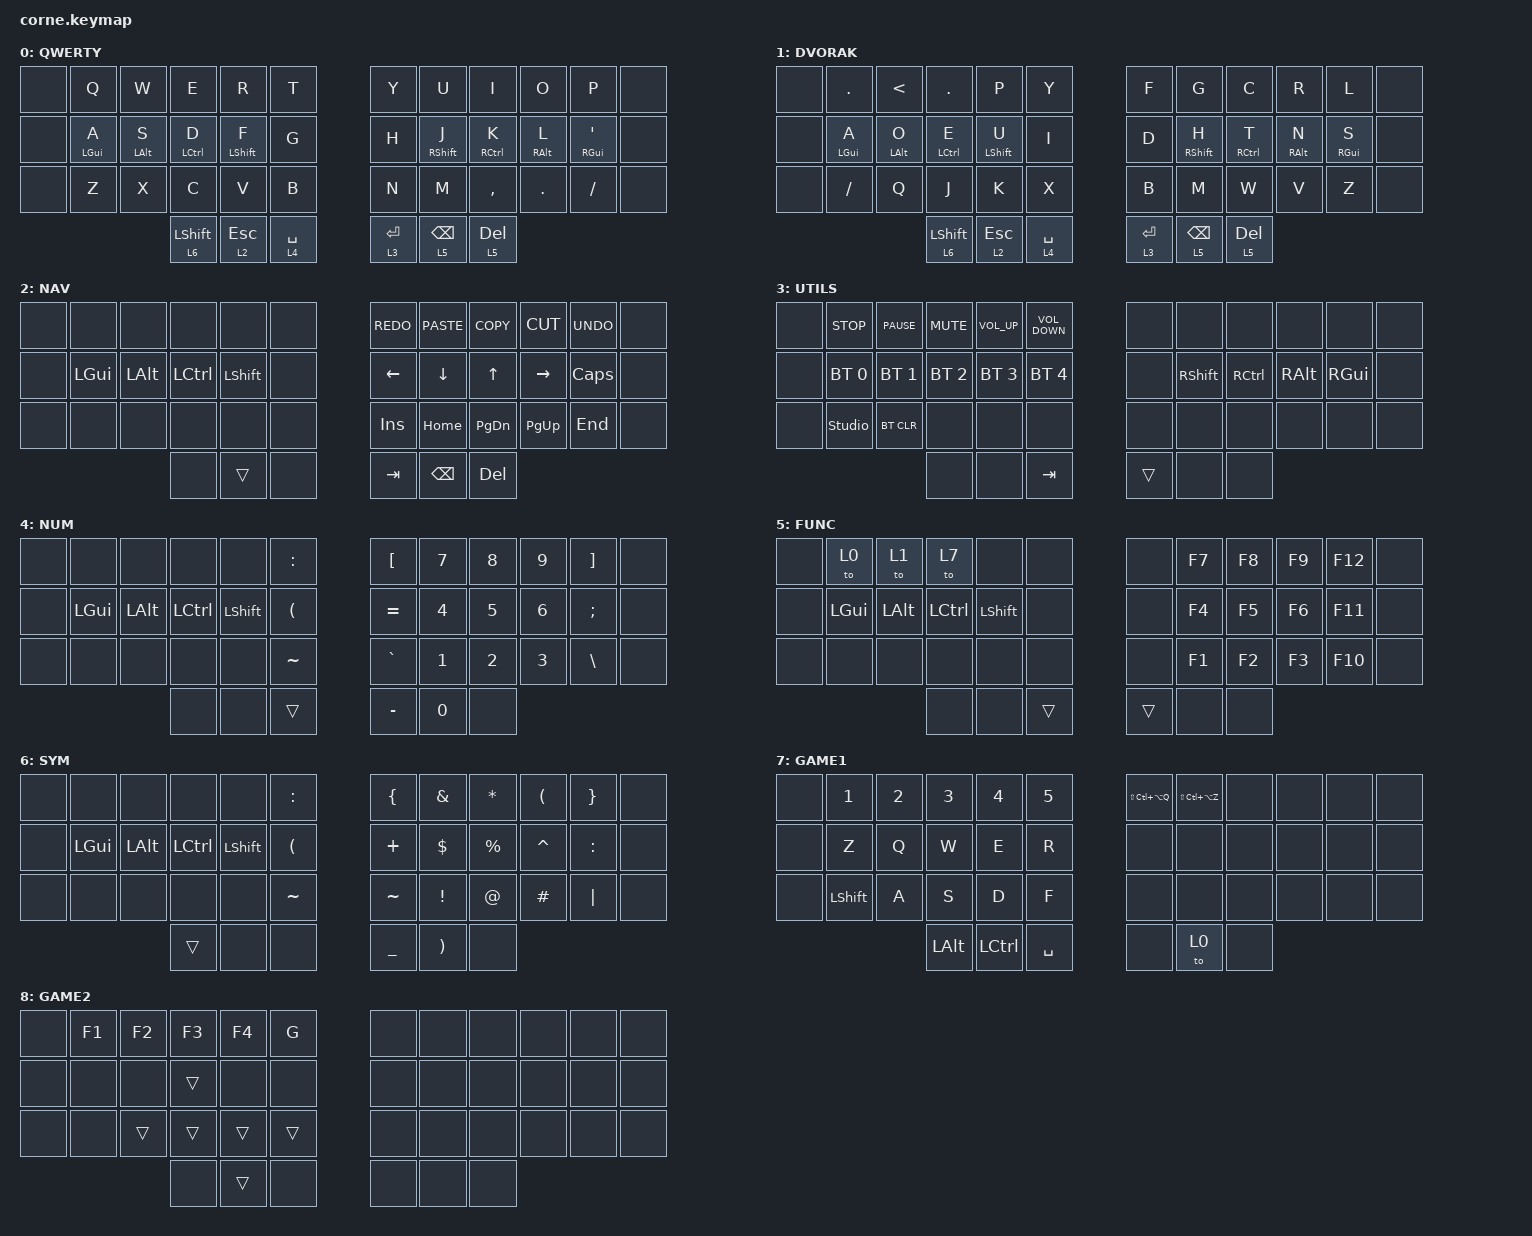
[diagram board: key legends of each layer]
/*
 * Copyright (c) 2020 The ZMK Contributors
 *
 * SPDX-License-Identifier: MIT
 */

#include <behaviors.dtsi>
#include <dt-bindings/zmk/bt.h>
#include <dt-bindings/zmk/keys.h>

&mt {
    tapping-term-ms = <200>;
    flavor = "tap-preferred";
};

&lt {
    tapping-term-ms = <200>;
    flavor = "tap-preferred";
};

/ {
    combos {
        compatible = "zmk,combos";

        quick_tab {
            bindings = <&kp TAB>;
            key-positions = <13 14>;
            layers = <0 1 7>;
        };

        to_func {
            bindings = <&mo 5>;
            key-positions = <38 39>;
        };

        quick_esc {
            bindings = <&kp ESCAPE>;
            key-positions = <1 2>;
            layers = <0 1 7>;
        };

        to_game2 {
            bindings = <&mo 8>;
            key-positions = <37 29>;
            layers = <7>;
        };
    };

    behaviors {
        // Home row mods (mod-tap)

        hml: homerow_mods_left {
            compatible = "zmk,behavior-hold-tap";
            #binding-cells = <2>;
            tapping-term-ms = <200>;
            quick-tap-ms = <175>;
            require-prior-idle-ms = <150>;
            flavor = "balanced";
            bindings = <&kp>, <&kp>;

            hold-trigger-key-positions = <6 7 8 9 18 19 32 33 34 20 22 10 21 30 31 39 41 40>;  // Right hand + thumbs
            hold-trigger-on-release;
        };

        hmr: homerow_mods_right {
            compatible = "zmk,behavior-hold-tap";
            #binding-cells = <2>;
            tapping-term-ms = <200>;
            quick-tap-ms = <175>;
            require-prior-idle-ms = <150>;
            flavor = "balanced";
            bindings = <&kp>, <&kp>;

            hold-trigger-key-positions = <1 2 3 4 13 14 15 17 16 5 25 27 28 29 26 36 37 38>;  // Left hand + thumbs
            hold-trigger-on-release;
        };
    };

    keymap {
        compatible = "zmk,keymap";

        qwerty {
            display-name = "QWERTY";
            bindings = <
&none  &kp Q            &kp W            &kp E             &kp R              &kp T          &kp Y        &kp U            &kp I         &kp O             &kp P                        &none
&none  &hml LEFT_GUI A  &hml LEFT_ALT S  &hml LCTRL D      &hml LEFT_SHIFT F  &kp G          &kp H        &hmr RSHFT J     &hmr RCTRL K  &hmr RIGHT_ALT L  &hmr RIGHT_GUI SINGLE_QUOTE  &none
&none  &kp Z            &kp X            &kp C             &kp V              &kp B          &kp N        &kp M            &kp COMMA     &kp DOT           &kp FSLH                     &none
                                         &lt 6 LEFT_SHIFT  &lt 2 ESCAPE       &lt 4 SPACE    &lt 3 ENTER  &lt 5 BACKSPACE  &lt 5 DELETE
            >;
        };

        dvorak {
            display-name = "DVORAK";
            bindings = <
&none  &kp PERIOD       &kp LESS_THAN    &kp PERIOD        &kp P              &kp Y          &kp F        &kp G            &kp C         &kp R             &kp L             &none
&none  &hml LEFT_GUI A  &hml LEFT_ALT O  &hml LCTRL E      &hml LEFT_SHIFT U  &kp I          &kp D        &hmr RSHFT H     &hmr RCTRL T  &hmr RIGHT_ALT N  &hmr RIGHT_GUI S  &none
&none  &kp SLASH        &kp Q            &kp J             &kp K              &kp X          &kp B        &kp M            &kp W         &kp V             &kp Z             &none
                                         &lt 6 LEFT_SHIFT  &lt 2 ESCAPE       &lt 4 SPACE    &lt 3 ENTER  &lt 5 BACKSPACE  &lt 5 DELETE
            >;
        };

        nav {
            display-name = "NAV";
            bindings = <
&none  &none         &none         &none      &none           &none    &kp K_REDO  &kp K_PASTE    &kp K_COPY     &kp K_CUT  &kp K_UNDO  &none
&none  &kp LEFT_GUI  &kp LEFT_ALT  &kp LCTRL  &kp LEFT_SHIFT  &none    &kp LEFT    &kp DOWN       &kp UP         &kp RIGHT  &kp CAPS    &none
&none  &none         &none         &none      &none           &none    &kp INSERT  &kp HOME       &kp PAGE_DOWN  &kp PG_UP  &kp END     &none
                                   &none      &trans          &none    &kp TAB     &kp BACKSPACE  &kp DELETE
            >;
        };

        util {
            display-name = "UTILS";
            bindings = <
&none  &kp K_STOP      &kp C_PAUSE   &kp K_MUTE    &kp C_VOLUME_UP  &kp C_VOLUME_DOWN    &none   &none       &none      &none     &none          &none
&none  &bt BT_SEL 0    &bt BT_SEL 1  &bt BT_SEL 2  &bt BT_SEL 3     &bt BT_SEL 4         &none   &kp RSHIFT  &kp RCTRL  &kp RALT  &kp RIGHT_GUI  &none
&none  &studio_unlock  &bt BT_CLR    &none         &none            &none                &none   &none       &none      &none     &none          &none
                                     &none         &none            &kp TAB              &trans  &none       &none
            >;
        };

        num {
            display-name = "NUM";
            bindings = <
&none  &none         &none         &none      &none           &kp COLON               &kp LEFT_BRACKET  &kp N7        &kp N8  &kp N9        &kp RIGHT_BRACKET  &none
&none  &kp LEFT_GUI  &kp LEFT_ALT  &kp LCTRL  &kp LEFT_SHIFT  &kp LEFT_PARENTHESIS    &kp EQUAL         &kp N4        &kp N5  &kp NUMBER_6  &kp SEMICOLON      &none
&none  &none         &none         &none      &none           &kp TILDE               &kp GRAVE         &kp N1        &kp N2  &kp N3        &kp BACKSLASH      &none
                                   &none      &none           &trans                  &kp MINUS         &kp NUMBER_0  &none
            >;
        };

        func {
            display-name = "FUNC";
            bindings = <
&none  &to 0         &to 1         &to 7      &none           &none     &none   &kp F7  &kp F8  &kp F9  &kp F12  &none
&none  &kp LEFT_GUI  &kp LEFT_ALT  &kp LCTRL  &kp LEFT_SHIFT  &none     &none   &kp F4  &kp F5  &kp F6  &kp F11  &none
&none  &none         &none         &none      &none           &none     &none   &kp F1  &kp F2  &kp F3  &kp F10  &none
                                   &none      &none           &trans    &trans  &none   &none
            >;
        };

        sym {
            display-name = "SYM";
            bindings = <
&none  &none         &none         &none      &none           &kp COLON               &kp LEFT_BRACE  &kp AMPS  &kp STAR   &kp LPAR   &kp RIGHT_BRACE  &none
&none  &kp LEFT_GUI  &kp LEFT_ALT  &kp LCTRL  &kp LEFT_SHIFT  &kp LEFT_PARENTHESIS    &kp PLUS        &kp DLLR  &kp PRCNT  &kp CARET  &kp COLON        &none
&none  &none         &none         &none      &none           &kp TILDE               &kp TILDE       &kp EXCL  &kp AT     &kp HASH   &kp PIPE         &none
                                   &trans     &none           &none                   &kp UNDERSCORE  &kp RPAR  &none
            >;
        };

        game1 {
            display-name = "GAME1";
            bindings = <
&none  &kp NUMBER_1    &kp NUMBER_2  &kp NUMBER_3  &kp NUMBER_4  &kp N5       &kp LS(LC(LA(Q)))  &kp LS(LC(LA(Z)))  &none  &none  &none  &none
&none  &kp Z           &kp Q         &kp W         &kp E         &kp R        &none              &none              &none  &none  &none  &none
&none  &kp LEFT_SHIFT  &kp A         &kp S         &kp D         &kp F        &none              &none              &none  &none  &none  &none
                                     &kp LEFT_ALT  &kp LCTRL     &kp SPACE    &none              &to 0              &none
            >;
        };

        game2 {
            bindings = <
&none  &kp F1  &kp F2  &kp F3  &kp F4  &kp G     &none  &none  &none  &none  &none  &none
&none  &none   &none   &trans  &none   &none     &none  &none  &none  &none  &none  &none
&none  &none   &trans  &trans  &trans  &trans    &none  &none  &none  &none  &none  &none
                       &none   &trans  &none     &none  &none  &none
            >;

            label = "GAME2";
        };
    };
};
